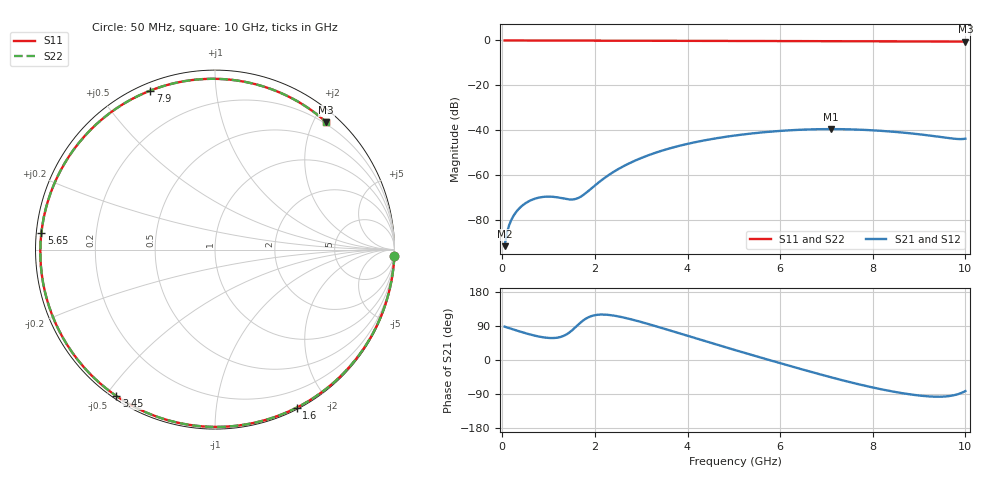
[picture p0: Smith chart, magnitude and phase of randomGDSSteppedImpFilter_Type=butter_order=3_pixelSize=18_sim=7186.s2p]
! freq	dB(S11)	phase(S11)	dB(S12)	phase(S12)
!  dB(S21)	phase(S21)	dB(S22)	phase(S22)
!S-par simulation data
#  GHz  S  DB  R 50
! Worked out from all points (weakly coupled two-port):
!   200 points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, 50 MHz to 10 GHz, reference 50 ohm
!   highest |S21| = -39.46 dB at 7.1 GHz (marker M1); lowest = -91.6 dB at 50 MHz (marker M2)
!   lowest |S11| = -0.5 dB at 10 GHz (marker M3), VSWR 33.78, Z = 8.61 + j109 ohm
!   |S11| at or under -10 dB: nowhere
!   |S22| runs from -0.5 to 0.0 dB; largest |S21 - S12| = 0
!   S11 on the Smith chart (normalised r, x): 50 MHz: 0, -56; 1.6 GHz: 0.02, -1.64; 3.45 GHz: 0.01, -0.53; 5.65 GHz: 0.01, +0.05; 7.9 GHz: 0.03, +0.67; 10 GHz: 0.17, +2.19
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0.05  -0.00 -2.1  -91.58 88.0  -91.58 88.0  -0.00 -2.1
0.2  -0.01 -8.2  -79.67 82.1  -79.67 82.1  -0.01 -8.2
0.3  -0.02 -12.2  -76.33 78.2  -76.33 78.2  -0.02 -12.2
0.45  -0.02 -18.2  -73.22 72.6  -73.22 72.6  -0.02 -18.2
0.75  -0.04 -30.2  -70.17 62.9  -70.17 62.9  -0.04 -30.2
1  -0.05 -40.0  -69.51 58.2  -69.51 58.2  -0.05 -40.0
1.6  -0.08 -62.6  -70.45 88.7  -70.45 88.7  -0.08 -62.6
1.75  -0.08 -68.1  -68.78 104.6  -68.78 104.6  -0.08 -68.1
2.2  -0.10 -83.9  -61.34 119.9  -61.34 119.9  -0.10 -83.9
2.5  -0.11 -94.0  -57.32 115.2  -57.32 115.2  -0.11 -94.0
2.9  -0.12 -107.0  -53.20 103.6  -53.20 103.6  -0.12 -107.0
3.4  -0.14 -122.4  -49.37 86.1  -49.37 86.1  -0.14 -122.4
3.45  -0.14 -123.9  -49.05 84.3  -49.05 84.3  -0.14 -123.9
4.25  -0.18 -147.1  -44.94 54.6  -44.94 54.6  -0.18 -147.2
5.05  -0.21 -169.2  -42.24 25.4  -42.24 25.4  -0.21 -169.2
5.65  -0.25 174.5  -40.86 4.0  -40.86 4.0  -0.25 174.5
6.7  -0.31 146.0  -39.56 -32.4  -39.56 -32.4  -0.31 146.0
7.1  -0.34 134.9  -39.46 -45.7  -39.46 -45.7  -0.34 134.9
7.9  -0.39 112.1  -39.89 -69.8  -39.89 -69.8  -0.39 112.1
8.35  -0.41 98.9  -40.49 -81.3  -40.49 -81.3  -0.41 98.9
9.15  -0.46 74.9  -42.13 -95.5  -42.13 -95.5  -0.46 74.8
10  -0.51 48.9  -43.73 -82.1  -43.73 -82.1  -0.51 48.8
